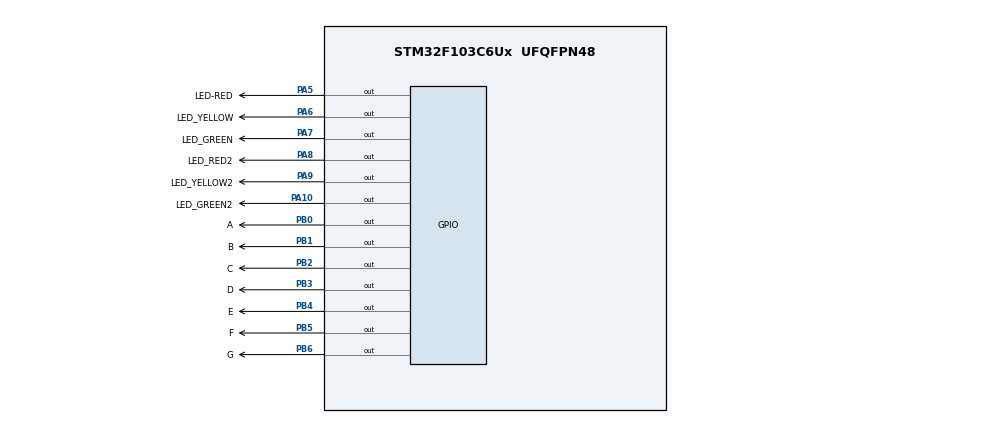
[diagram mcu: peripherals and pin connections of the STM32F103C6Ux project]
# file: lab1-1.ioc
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Mcu.Family=STM32F1
Mcu.Name=STM32F103C6Ux
Mcu.Package=UFQFPN48
NVIC.PriorityGroup=NVIC_PRIORITYGROUP_4
PA10.GPIO_Label=LED_GREEN2
PA10.Signal=GPIO_Output
PA5.GPIO_Label=LED-RED
PA5.Signal=GPIO_Output
PA6.GPIO_Label=LED_YELLOW
PA6.Signal=GPIO_Output
PA7.GPIO_Label=LED_GREEN
PA7.Signal=GPIO_Output
PA8.GPIO_Label=LED_RED2
PA8.Signal=GPIO_Output
PA9.GPIO_Label=LED_YELLOW2
PA9.Signal=GPIO_Output
PB0.GPIO_Label=A
PB0.Signal=GPIO_Output
PB1.GPIO_Label=B
PB1.Signal=GPIO_Output
PB2.GPIO_Label=C
PB2.Signal=GPIO_Output
PB3.GPIO_Label=D
PB3.Signal=GPIO_Output
PB4.GPIO_Label=E
PB4.Signal=GPIO_Output
PB5.GPIO_Label=F
PB5.Signal=GPIO_Output
PB6.GPIO_Label=G
PB6.Signal=GPIO_Output
ProjectManager.HeapSize=0x200
ProjectManager.StackSize=0x400
ProjectManager.TargetToolchain=STM32CubeIDE
RCC.APB1Freq_Value=8000000
RCC.APB2Freq_Value=8000000
VP_SYS_VS_ND.Mode=No_Debug
board=custom

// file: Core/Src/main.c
/* USER CODE BEGIN Header */
/**
  ******************************************************************************
  * @file           : main.c
  * @brief          : Main program body
  ******************************************************************************
  * @attention
  *
  * <h2><center>&copy; Copyright (c) 2026 STMicroelectronics.
  * All rights reserved.</center></h2>
  *
  * This software component is licensed by ST under BSD 3-Clause license,
  * the "License"; You may not use this file except in compliance with the
  * License. You may obtain a copy of the License at:
  *                        opensource.org/licenses/BSD-3-Clause
  *
  ******************************************************************************
  */
/* USER CODE END Header */
#include "main.h"

void SystemClock_Config(void);
static void MX_GPIO_Init(void);
/* USER CODE BEGIN PFP */
void display7SEG(int num);
/* USER CODE END PFP */

int main(void)
{

  /* MCU Configuration--------------------------------------------------------*/

  /* Reset of all peripherals, Initializes the Flash interface and the Systick. */
  HAL_Init();

  /* Configure the system clock */
  SystemClock_Config();

  /* Initialize all configured peripherals */
  MX_GPIO_Init();

  /* Infinite loop */
  /* USER CODE BEGIN WHILE */
  int counter = 0;
  while (1)
  {
    /* USER CODE END WHILE */

    /* USER CODE BEGIN 3 */
	//Ex1
	/*HAL_GPIO_WritePin(LED_RED_GPIO_Port, LED_RED_Pin, GPIO_PIN_SET);
	HAL_GPIO_WritePin(LED_YELLOW_GPIO_Port, LED_YELLOW_Pin, GPIO_PIN_RESET);
	HAL_Delay(2000);
	HAL_GPIO_WritePin(LED_RED_GPIO_Port, LED_RED_Pin, GPIO_PIN_RESET);
	HAL_GPIO_WritePin(LED_YELLOW_GPIO_Port, LED_YELLOW_Pin, GPIO_PIN_SET);
	HAL_Delay(2000);*/
	//Ex1

	    //Ex2
	    /*HAL_GPIO_WritePin(LED_RED_GPIO_Port, LED_RED_Pin, GPIO_PIN_RESET);
	  	HAL_GPIO_WritePin(LED_YELLOW_GPIO_Port, LED_YELLOW_Pin, GPIO_PIN_SET);
	  	HAL_GPIO_WritePin(LED_GREEN_GPIO_Port, LED_GREEN_Pin, GPIO_PIN_SET);
	  	HAL_Delay(5000);
	  	HAL_GPIO_WritePin(LED_RED_GPIO_Port, LED_RED_Pin, GPIO_PIN_SET);
	  	HAL_GPIO_WritePin(LED_YELLOW_GPIO_Port, LED_YELLOW_Pin, GPIO_PIN_SET);
	  	HAL_GPIO_WritePin(LED_GREEN_GPIO_Port, LED_GREEN_Pin, GPIO_PIN_RESET);
	  	HAL_Delay(3000);
	  	HAL_GPIO_WritePin(LED_RED_GPIO_Port, LED_RED_Pin, GPIO_PIN_SET);
	    HAL_GPIO_WritePin(LED_YELLOW_GPIO_Port, LED_YELLOW_Pin, GPIO_PIN_RESET);
	  	HAL_GPIO_WritePin(LED_GREEN_GPIO_Port, LED_GREEN_Pin, GPIO_PIN_SET);
	  	HAL_Delay(2000);*/
	  	//Ex2

	  	//Ex3
	  	/*HAL_GPIO_WritePin(LED_RED_GPIO_Port, LED_RED_Pin, GPIO_PIN_RESET);
	  	HAL_GPIO_WritePin(LED_YELLOW_GPIO_Port, LED_YELLOW_Pin, GPIO_PIN_SET);
	  	HAL_GPIO_WritePin(LED_GREEN_GPIO_Port, LED_GREEN_Pin, GPIO_PIN_SET);
	  	HAL_GPIO_WritePin(LED_RED2_GPIO_Port, LED_RED2_Pin, GPIO_PIN_SET);
	  	HAL_GPIO_WritePin(LED_YELLOW2_GPIO_Port, LED_YELLOW2_Pin, GPIO_PIN_SET);
	  	HAL_GPIO_WritePin(LED_GREEN2_GPIO_Port, LED_GREEN2_Pin, GPIO_PIN_RESET);
	  	HAL_Delay(3000);
	  	HAL_GPIO_WritePin(LED_YELLOW2_GPIO_Port, LED_YELLOW2_Pin, GPIO_PIN_RESET);
	  	HAL_GPIO_WritePin(LED_GREEN2_GPIO_Port, LED_GREEN2_Pin, GPIO_PIN_SET);
	  	HAL_Delay(2000);
	  	HAL_GPIO_WritePin(LED_RED_GPIO_Port, LED_RED_Pin, GPIO_PIN_SET);
	  	HAL_GPIO_WritePin(LED_GREEN_GPIO_Port, LED_GREEN_Pin, GPIO_PIN_RESET);
	  	HAL_GPIO_WritePin(LED_RED2_GPIO_Port, LED_RED2_Pin, GPIO_PIN_RESET);
	  	HAL_GPIO_WritePin(LED_YELLOW2_GPIO_Port, LED_YELLOW2_Pin, GPIO_PIN_SET);
	  	HAL_Delay(3000);
	  	HAL_GPIO_WritePin(LED_YELLOW_GPIO_Port, LED_YELLOW_Pin, GPIO_PIN_RESET);
	  	HAL_GPIO_WritePin(LED_GREEN_GPIO_Port, LED_GREEN_Pin, GPIO_PIN_SET);
	  	HAL_Delay(2000);*/
	  	//Ex3

	  //Ex4
	  /*if(counter >= 10) counter = 0;
	  display7SEG(counter++);
	  HAL_Delay(1000);*/
	  //Ex4

	  //Ex5
	  HAL_GPIO_WritePin(LED_RED_GPIO_Port, LED_RED_Pin, GPIO_PIN_RESET);
	  HAL_GPIO_WritePin(LED_YELLOW_GPIO_Port, LED_YELLOW_Pin, GPIO_PIN_SET);
	  HAL_GPIO_WritePin(LED_GREEN_GPIO_Port, LED_GREEN_Pin, GPIO_PIN_SET);
	  HAL_GPIO_WritePin(LED_RED2_GPIO_Port, LED_RED2_Pin, GPIO_PIN_SET);
	  HAL_GPIO_WritePin(LED_YELLOW2_GPIO_Port, LED_YELLOW2_Pin, GPIO_PIN_SET);
	  HAL_GPIO_WritePin(LED_GREEN2_GPIO_Port, LED_GREEN2_Pin, GPIO_PIN_RESET);
	  display7SEG(5); HAL_Delay(1000);
	  display7SEG(4); HAL_Delay(1000);
	  display7SEG(3); HAL_Delay(1000);
	  HAL_GPIO_WritePin(LED_YELLOW2_GPIO_Port, LED_YELLOW2_Pin, GPIO_PIN_RESET);
	  HAL_GPIO_WritePin(LED_GREEN2_GPIO_Port, LED_GREEN2_Pin, GPIO_PIN_SET);
	  display7SEG(2); HAL_Delay(1000);
	  display7SEG(1); HAL_Delay(1000);
	  HAL_GPIO_WritePin(LED_RED_GPIO_Port, LED_RED_Pin, GPIO_PIN_SET);
	  HAL_GPIO_WritePin(LED_GREEN_GPIO_Port, LED_GREEN_Pin, GPIO_PIN_RESET);
	  HAL_GPIO_WritePin(LED_RED2_GPIO_Port, LED_RED2_Pin, GPIO_PIN_RESET);
	  HAL_GPIO_WritePin(LED_YELLOW2_GPIO_Port, LED_YELLOW2_Pin, GPIO_PIN_SET);
	  display7SEG(3); HAL_Delay(1000);
	  display7SEG(2); HAL_Delay(1000);
	  display7SEG(1); HAL_Delay(1000);
	  HAL_GPIO_WritePin(LED_YELLOW_GPIO_Port, LED_YELLOW_Pin, GPIO_PIN_RESET);
	  HAL_GPIO_WritePin(LED_GREEN_GPIO_Port, LED_GREEN_Pin, GPIO_PIN_SET);
	  display7SEG(2); HAL_Delay(1000);
	  display7SEG(1); HAL_Delay(1000);
	  //Ex5
  }
  /* USER CODE END 3 */
}

void SystemClock_Config(void)
{
  RCC_OscInitTypeDef RCC_OscInitStruct = {0};
  RCC_ClkInitTypeDef RCC_ClkInitStruct = {0};

  /** Initializes the RCC Oscillators according to the specified parameters
  * in the RCC_OscInitTypeDef structure.
  */
  RCC_OscInitStruct.OscillatorType = RCC_OSCILLATORTYPE_HSI;
  RCC_OscInitStruct.HSIState = RCC_HSI_ON;
  RCC_OscInitStruct.HSICalibrationValue = RCC_HSICALIBRATION_DEFAULT;
  RCC_OscInitStruct.PLL.PLLState = RCC_PLL_NONE;
  if (HAL_RCC_OscConfig(&RCC_OscInitStruct) != HAL_OK)
  {
    Error_Handler();
  }
  /** Initializes the CPU, AHB and APB buses clocks
  */
  RCC_ClkInitStruct.ClockType = RCC_CLOCKTYPE_HCLK|RCC_CLOCKTYPE_SYSCLK
                              |RCC_CLOCKTYPE_PCLK1|RCC_CLOCKTYPE_PCLK2;
  RCC_ClkInitStruct.SYSCLKSource = RCC_SYSCLKSOURCE_HSI;
  RCC_ClkInitStruct.AHBCLKDivider = RCC_SYSCLK_DIV1;
  RCC_ClkInitStruct.APB1CLKDivider = RCC_HCLK_DIV1;
  RCC_ClkInitStruct.APB2CLKDivider = RCC_HCLK_DIV1;

  if (HAL_RCC_ClockConfig(&RCC_ClkInitStruct, FLASH_LATENCY_0) != HAL_OK)
  {
    Error_Handler();
  }
}

static void MX_GPIO_Init(void)
{
  GPIO_InitTypeDef GPIO_InitStruct = {0};

  /* GPIO Ports Clock Enable */
  __HAL_RCC_GPIOA_CLK_ENABLE();
  __HAL_RCC_GPIOB_CLK_ENABLE();

  /*Configure GPIO pin Output Level */
  HAL_GPIO_WritePin(GPIOA, LED_RED_Pin|LED_YELLOW_Pin|LED_GREEN_Pin|LED_RED2_Pin
                          |LED_YELLOW2_Pin|LED_GREEN2_Pin, GPIO_PIN_RESET);

  /*Configure GPIO pin Output Level */
  HAL_GPIO_WritePin(GPIOB, A_Pin|B_Pin|C_Pin|D_Pin
                          |E_Pin|F_Pin|G_Pin, GPIO_PIN_RESET);

  /*Configure GPIO pins : LED_RED_Pin LED_YELLOW_Pin LED_GREEN_Pin LED_RED2_Pin
                           LED_YELLOW2_Pin LED_GREEN2_Pin */
  GPIO_InitStruct.Pin = LED_RED_Pin|LED_YELLOW_Pin|LED_GREEN_Pin|LED_RED2_Pin
                          |LED_YELLOW2_Pin|LED_GREEN2_Pin;
  GPIO_InitStruct.Mode = GPIO_MODE_OUTPUT_PP;
  GPIO_InitStruct.Pull = GPIO_NOPULL;
  GPIO_InitStruct.Speed = GPIO_SPEED_FREQ_LOW;
  HAL_GPIO_Init(GPIOA, &GPIO_InitStruct);

  /*Configure GPIO pins : A_Pin B_Pin C_Pin D_Pin
                           E_Pin F_Pin G_Pin */
  GPIO_InitStruct.Pin = A_Pin|B_Pin|C_Pin|D_Pin
                          |E_Pin|F_Pin|G_Pin;
  GPIO_InitStruct.Mode = GPIO_MODE_OUTPUT_PP;
  GPIO_InitStruct.Pull = GPIO_NOPULL;
  GPIO_InitStruct.Speed = GPIO_SPEED_FREQ_LOW;
  HAL_GPIO_Init(GPIOB, &GPIO_InitStruct);

}

/* USER CODE BEGIN 4 */
void display7SEG(int num){
	if(num<0||num>9) return;
	switch(num){
	case 0:
		HAL_GPIO_WritePin(A_GPIO_Port, A_Pin, GPIO_PIN_RESET);
		HAL_GPIO_WritePin(B_GPIO_Port, B_Pin, GPIO_PIN_RESET);
		HAL_GPIO_WritePin(C_GPIO_Port, C_Pin, GPIO_PIN_RESET);
		HAL_GPIO_WritePin(D_GPIO_Port, D_Pin, GPIO_PIN_RESET);
		HAL_GPIO_WritePin(E_GPIO_Port, E_Pin, GPIO_PIN_RESET);
		HAL_GPIO_WritePin(F_GPIO_Port, F_Pin, GPIO_PIN_RESET);
		HAL_GPIO_WritePin(G_GPIO_Port, G_Pin, GPIO_PIN_SET);
		break;
	case 1:
		HAL_GPIO_WritePin(A_GPIO_Port, A_Pin, GPIO_PIN_SET);
		HAL_GPIO_WritePin(B_GPIO_Port, B_Pin, GPIO_PIN_RESET);
		HAL_GPIO_WritePin(C_GPIO_Port, C_Pin, GPIO_PIN_RESET);
		HAL_GPIO_WritePin(D_GPIO_Port, D_Pin, GPIO_PIN_SET);
		HAL_GPIO_WritePin(E_GPIO_Port, E_Pin, GPIO_PIN_SET);
		HAL_GPIO_WritePin(F_GPIO_Port, F_Pin, GPIO_PIN_SET);
		HAL_GPIO_WritePin(G_GPIO_Port, G_Pin, GPIO_PIN_SET);
		break;
	case 2:
		HAL_GPIO_WritePin(A_GPIO_Port, A_Pin, GPIO_PIN_RESET);
		HAL_GPIO_WritePin(B_GPIO_Port, B_Pin, GPIO_PIN_RESET);
		HAL_GPIO_WritePin(C_GPIO_Port, C_Pin, GPIO_PIN_SET);
		HAL_GPIO_WritePin(D_GPIO_Port, D_Pin, GPIO_PIN_RESET);
		HAL_GPIO_WritePin(E_GPIO_Port, E_Pin, GPIO_PIN_RESET);
		HAL_GPIO_WritePin(F_GPIO_Port, F_Pin, GPIO_PIN_SET);
		HAL_GPIO_WritePin(G_GPIO_Port, G_Pin, GPIO_PIN_RESET);
		break;
	case 3:
		HAL_GPIO_WritePin(A_GPIO_Port, A_Pin, GPIO_PIN_RESET);
		HAL_GPIO_WritePin(B_GPIO_Port, B_Pin, GPIO_PIN_RESET);
		HAL_GPIO_WritePin(C_GPIO_Port, C_Pin, GPIO_PIN_RESET);
		HAL_GPIO_WritePin(D_GPIO_Port, D_Pin, GPIO_PIN_RESET);
		HAL_GPIO_WritePin(E_GPIO_Port, E_Pin, GPIO_PIN_SET);
		HAL_GPIO_WritePin(F_GPIO_Port, F_Pin, GPIO_PIN_SET);
		HAL_GPIO_WritePin(G_GPIO_Port, G_Pin, GPIO_PIN_RESET);
		break;
	case 4:
		HAL_GPIO_WritePin(A_GPIO_Port, A_Pin, GPIO_PIN_SET);
		HAL_GPIO_WritePin(B_GPIO_Port, B_Pin, GPIO_PIN_RESET);
		HAL_GPIO_WritePin(C_GPIO_Port, C_Pin, GPIO_PIN_RESET);
		HAL_GPIO_WritePin(D_GPIO_Port, D_Pin, GPIO_PIN_SET);
		HAL_GPIO_WritePin(E_GPIO_Port, E_Pin, GPIO_PIN_SET);
		HAL_GPIO_WritePin(F_GPIO_Port, F_Pin, GPIO_PIN_RESET);
		HAL_GPIO_WritePin(G_GPIO_Port, G_Pin, GPIO_PIN_RESET);
		break;
	case 5:
		HAL_GPIO_WritePin(A_GPIO_Port, A_Pin, GPIO_PIN_RESET);
		HAL_GPIO_WritePin(B_GPIO_Port, B_Pin, GPIO_PIN_SET);
		HAL_GPIO_WritePin(C_GPIO_Port, C_Pin, GPIO_PIN_RESET);
		HAL_GPIO_WritePin(D_GPIO_Port, D_Pin, GPIO_PIN_RESET);
		HAL_GPIO_WritePin(E_GPIO_Port, E_Pin, GPIO_PIN_SET);
		HAL_GPIO_WritePin(F_GPIO_Port, F_Pin, GPIO_PIN_RESET);
		HAL_GPIO_WritePin(G_GPIO_Port, G_Pin, GPIO_PIN_RESET);
		break;
	case 6:
		HAL_GPIO_WritePin(A_GPIO_Port, A_Pin, GPIO_PIN_RESET);
		HAL_GPIO_WritePin(B_GPIO_Port, B_Pin, GPIO_PIN_SET);
		HAL_GPIO_WritePin(C_GPIO_Port, C_Pin, GPIO_PIN_RESET);
		HAL_GPIO_WritePin(D_GPIO_Port, D_Pin, GPIO_PIN_RESET);
		HAL_GPIO_WritePin(E_GPIO_Port, E_Pin, GPIO_PIN_RESET);
		HAL_GPIO_WritePin(F_GPIO_Port, F_Pin, GPIO_PIN_RESET);
		HAL_GPIO_WritePin(G_GPIO_Port, G_Pin, GPIO_PIN_RESET);
		break;
	case 7:
		HAL_GPIO_WritePin(A_GPIO_Port, A_Pin, GPIO_PIN_RESET);
		HAL_GPIO_WritePin(B_GPIO_Port, B_Pin, GPIO_PIN_RESET);
		HAL_GPIO_WritePin(C_GPIO_Port, C_Pin, GPIO_PIN_RESET);
		HAL_GPIO_WritePin(D_GPIO_Port, D_Pin, GPIO_PIN_SET);
		HAL_GPIO_WritePin(E_GPIO_Port, E_Pin, GPIO_PIN_SET);
		HAL_GPIO_WritePin(F_GPIO_Port, F_Pin, GPIO_PIN_SET);
		HAL_GPIO_WritePin(G_GPIO_Port, G_Pin, GPIO_PIN_SET);
		break;
	case 8:
		HAL_GPIO_WritePin(A_GPIO_Port, A_Pin, GPIO_PIN_RESET);
		HAL_GPIO_WritePin(B_GPIO_Port, B_Pin, GPIO_PIN_RESET);
		HAL_GPIO_WritePin(C_GPIO_Port, C_Pin, GPIO_PIN_RESET);
		HAL_GPIO_WritePin(D_GPIO_Port, D_Pin, GPIO_PIN_RESET);
		HAL_GPIO_WritePin(E_GPIO_Port, E_Pin, GPIO_PIN_RESET);
		HAL_GPIO_WritePin(F_GPIO_Port, F_Pin, GPIO_PIN_RESET);
		HAL_GPIO_WritePin(G_GPIO_Port, G_Pin, GPIO_PIN_RESET);
		break;
	case 9:
		HAL_GPIO_WritePin(A_GPIO_Port, A_Pin, GPIO_PIN_RESET);
		HAL_GPIO_WritePin(B_GPIO_Port, B_Pin, GPIO_PIN_RESET);
		HAL_GPIO_WritePin(C_GPIO_Port, C_Pin, GPIO_PIN_RESET);
		HAL_GPIO_WritePin(D_GPIO_Port, D_Pin, GPIO_PIN_RESET);
		HAL_GPIO_WritePin(E_GPIO_Port, E_Pin, GPIO_PIN_SET);
		HAL_GPIO_WritePin(F_GPIO_Port, F_Pin, GPIO_PIN_RESET);
		HAL_GPIO_WritePin(G_GPIO_Port, G_Pin, GPIO_PIN_RESET);
		break;
	}
}
/* USER CODE END 4 */

void Error_Handler(void)
{
  __disable_irq();
  while (1)
  {
  }
}

/************************ (C) COPYRIGHT STMicroelectronics *****END OF FILE****/
